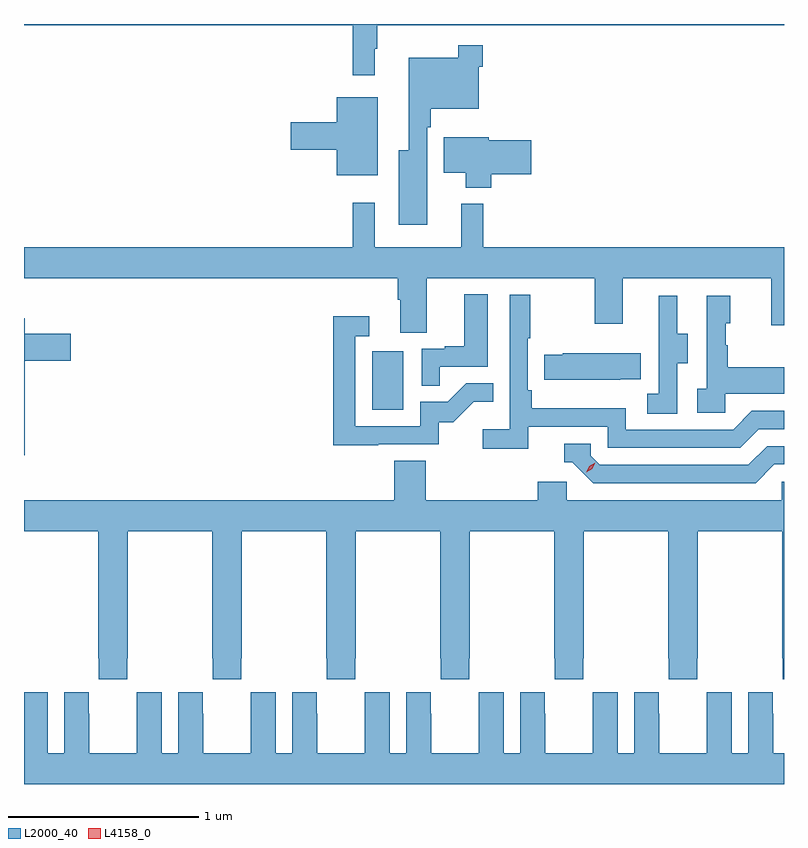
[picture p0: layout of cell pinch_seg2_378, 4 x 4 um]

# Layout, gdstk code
import gdstk
lib = gdstk.Library(unit=1e-6, precision=1e-09)
def R(c, l, rs):  # rectangles x0, y0, x1, y1
    for r in rs: c.add(gdstk.rectangle(r[:2], r[2:], *l))
def P(c, l, *ps):  # polygons
    for p in ps: c.add(gdstk.Polygon(p, *l))
L2000_40 = (2000, 40)
L4158_0 = (4158, 0)

pinch_seg2_378 = lib.new_cell('pinch_seg2_378')
R(pinch_seg2_378, L2000_40, [(971.624,605.652,971.788,605.959)])
P(pinch_seg2_378, L2000_40, [(971.638,607.553),(971.65,607.553),(971.65,607.676),(973.792,607.676),(973.792,607.682),(969.792,607.682),(969.792,607.676),(971.521,607.676),(971.521,607.413),(971.638,607.413)],
  [(971.914,607.139),(971.933,607.139),(971.933,607.235),(972.186,607.235),(972.186,607.457),(972.206,607.457),(972.206,607.57),(972.078,607.57),(972.078,607.504),(971.816,607.504),(971.816,607.018),(971.765,607.018),(971.765,606.626),(971.914,606.626)],
  [(971.653,607.297),(971.438,607.297),(971.438,607.166),(971.196,607.166),(971.196,607.019),(971.438,607.019),(971.438,606.887),(971.653,606.887)],
  [(972.251,606.892),(972.463,606.892),(972.463,607.07),(972.238,607.07),(972.238,607.087),(972.002,607.087),(972.002,606.899),(972.116,606.899),(972.116,606.821),(972.251,606.821)],
  [(972.796,606.105),(972.943,606.105),(972.943,606.344),(973.724,606.344),(973.724,606.096),(973.792,606.096),(973.792,606.508),(972.209,606.508),(972.209,606.736),(972.092,606.736),(972.092,606.508),(971.637,606.508),(971.637,606.742),(971.521,606.742),(971.521,606.508),(969.792,606.508),(969.792,606.344),(971.759,606.344),(971.759,606.232),(971.771,606.232),(971.771,606.058),(971.911,606.058),(971.911,606.344),(972.796,606.344)],
  [(971.981,605.877),(972.232,605.877),(972.232,606.259),(972.11,606.259),(972.11,605.986),(972.007,605.986),(972.007,605.973),(971.886,605.973),(971.886,605.779),(971.981,605.779)],
  [(972.446,605.562),(972.864,605.562),(972.864,605.451),(973.561,605.451),(973.66,605.55),(973.792,605.55),(973.792,605.646),(973.623,605.646),(973.524,605.547),(972.96,605.547),(972.96,605.659),(972.464,605.659),(972.464,605.755),(972.444,605.755),(972.444,606.028),(972.457,606.028),(972.457,606.256),(972.348,606.256),(972.348,605.548),(972.207,605.548),(972.207,605.446),(972.446,605.446)],
  [(973.23,605.896),(973.285,605.896),(973.285,606.051),(973.231,606.051),(973.231,606.253),(973.133,606.253),(973.133,606.039),(973.134,606.039),(973.134,605.735),(973.071,605.735),(973.071,605.632),(973.23,605.632)],
  [(973.482,605.735),(973.792,605.735),(973.792,605.875),(973.495,605.875),(973.495,605.99),(973.485,605.99),(973.485,606.108),(973.51,606.108),(973.51,606.253),(973.386,606.253),(973.386,605.762),(973.335,605.762),(973.335,605.637),(973.482,605.637)],
  [(971.657,605.469),(971.976,605.469),(971.976,605.586),(972.052,605.586),(972.159,605.693),(972.263,605.693),(972.263,605.792),(972.12,605.792),(972.022,605.694),(971.877,605.694),(971.877,605.565),(971.535,605.565),(971.535,606.039),(971.608,606.039),(971.608,606.145),(971.419,606.145),(971.419,605.464),(971.657,605.464)],
  [(969.796,605.909),(970.039,605.909),(970.039,606.051),(969.796,606.051),(969.796,606.133),(969.792,606.133),(969.792,605.412),(969.796,605.412)],
  [(972.929,605.813),(973.037,605.813),(973.037,605.95),(972.627,605.95),(972.627,605.94),(972.529,605.94),(972.529,605.81),(972.929,605.81)],
  [(973.741,605.364),(973.792,605.364),(973.792,605.46),(973.704,605.46),(973.605,605.361),(972.822,605.361),(972.774,605.409),(972.774,605.472),(972.635,605.472),(972.635,605.376),(972.678,605.376),(972.789,605.265),(973.642,605.265)],
  [(970.335,604.345),(970.338,604.345),(970.338,605.012),(970.783,605.012),(970.783,604.345),(970.785,604.345),(970.785,604.233),(970.935,604.233),(970.935,604.345),(970.938,604.345),(970.938,605.012),(971.383,605.012),(971.383,604.345),(971.385,604.345),(971.385,604.233),(971.535,604.233),(971.535,604.345),(971.538,604.345),(971.538,605.012),(971.983,605.012),(971.983,604.345),(971.985,604.345),(971.985,604.233),(972.135,604.233),(972.135,604.345),(972.138,604.345),(972.138,605.012),(972.583,605.012),(972.583,604.345),(972.585,604.345),(972.585,604.233),(972.735,604.233),(972.735,604.345),(972.738,604.345),(972.738,605.012),(973.183,605.012),(973.183,604.345),(973.185,604.345),(973.185,604.233),(973.335,604.233),(973.335,604.345),(973.338,604.345),(973.338,605.012),(973.783,605.012),(973.783,604.345),(973.785,604.345),(973.785,604.233),(973.792,604.233),(973.792,605.274),(973.779,605.274),(973.779,605.176),(972.648,605.176),(972.648,605.274),(972.497,605.274),(972.497,605.176),(971.906,605.176),(971.906,605.384),(971.741,605.384),(971.741,605.176),(969.792,605.176),(969.792,605.012),(970.183,605.012),(970.183,604.345),(970.185,604.345),(970.185,604.233),(970.335,604.233)],
  [(971.204,604.165),(971.204,603.844),(971.116,603.844),(971.116,604.165),(970.986,604.165),(970.986,604.052),(970.985,604.052),(970.985,603.844),(970.735,603.844),(970.735,604.052),(970.734,604.052),(970.734,604.165),(970.604,604.165),(970.604,603.844),(970.516,603.844),(970.516,604.165),(970.386,604.165),(970.386,604.052),(970.385,604.052),(970.385,603.844),(970.135,603.844),(970.135,604.052),(970.134,604.052),(970.134,604.165),(970.004,604.165),(970.004,603.844),(969.916,603.844),(969.916,604.165),(969.792,604.165),(969.792,603.682),(973.792,603.682),(973.792,603.844),(973.735,603.844),(973.735,604.052),(973.734,604.052),(973.734,604.165),(973.604,604.165),(973.604,603.844),(973.516,603.844),(973.516,604.165),(973.386,604.165),(973.386,604.052),(973.385,604.052),(973.385,603.844),(973.135,603.844),(973.135,604.052),(973.134,604.052),(973.134,604.165),(973.004,604.165),(973.004,603.844),(972.916,603.844),(972.916,604.165),(972.786,604.165),(972.786,604.052),(972.785,604.052),(972.785,603.844),(972.535,603.844),(972.535,604.052),(972.534,604.052),(972.534,604.165),(972.404,604.165),(972.404,603.844),(972.316,603.844),(972.316,604.165),(972.186,604.165),(972.186,604.052),(972.185,604.052),(972.185,603.844),(971.935,603.844),(971.935,604.052),(971.934,604.052),(971.934,604.165),(971.804,604.165),(971.804,603.844),(971.716,603.844),(971.716,604.165),(971.586,604.165),(971.586,604.052),(971.585,604.052),(971.585,603.844),(971.335,603.844),(971.335,604.052),(971.334,604.052),(971.334,604.165)])
P(pinch_seg2_378, L4158_0, [(972.752,605.322),(972.752,605.322),(972.768,605.355),(972.798,605.374),(972.799,605.374),(972.799,605.374),(972.783,605.341),(972.752,605.322)])

lib.write_gds('pinch_seg2_378.gds')
